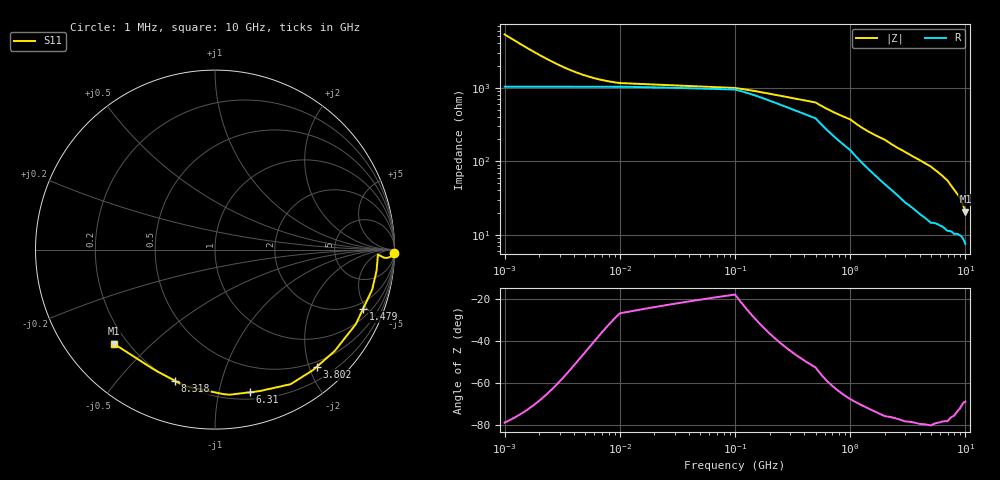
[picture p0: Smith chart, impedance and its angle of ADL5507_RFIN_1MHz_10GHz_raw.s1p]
! ADL5507 RFIN input reflection, variant 'raw', 1 MHz - 10 GHz (see adl5507_input_model.py)
! Data: ADL5507 Rev. 0 datasheet, Table 5, 10 MHz - 15 GHz; below 10 MHz extrapolated (series 25 pF coupling capacitor).
! 1-port: RFIN to ground (COMM). Reference impedance 50 ohm.
# HZ S RI R 50
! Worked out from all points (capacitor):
!   401 points, 1 MHz to 10 GHz, reference 50 ohm
!   read as one part to ground: C = 30.6 pF near 1.047 MHz
!   lowest |Z| = 20.7 ohm at 10 GHz (marker M1)
!   S11 on the Smith chart (normalised r, x): 1 MHz: open; 1.479 GHz: 1.50, -4.72; 3.802 GHz: 0.41, -2.13; 6.31 GHz: 0.26, -1.24; 8.318 GHz: 0.21, -0.72; 10 GHz: 0.15, -0.39
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1000000  0.9962 -0.0184
1862087  0.9879 -0.0311
3162278  0.9721 -0.0424
5370318  0.9487 -0.0459
1e7  0.925 -0.036
3.162278e7  0.9165 -0.032
1.023293e8  0.9079 -0.0292
3.162278e8  0.903 -0.0895
5.011872e8  0.9009 -0.1144
1e9  0.876 -0.222
1.479108e9  0.8246 -0.331
2.041738e9  0.7789 -0.4227
2.884032e9  0.6776 -0.5513
3.162278e9  0.6438 -0.5854
3.801894e9  0.5664 -0.6533
4.265795e9  0.5092 -0.6945
4.786301e9  0.4453 -0.7347
5.011872e9  0.4188 -0.7505
5.754399e9  0.2907 -0.7793
6.309573e9  0.1926 -0.7952
6.76083e9  0.111 -0.805
7.24436e9  0.00961 -0.7974
7.762471e9  -0.112 -0.7721
8.317638e9  -0.2215 -0.7312
8.912509e9  -0.3218 -0.6785
9.549926e9  -0.4643 -0.5883
9.772372e9  -0.5142 -0.5561
1e10  -0.564 -0.524
